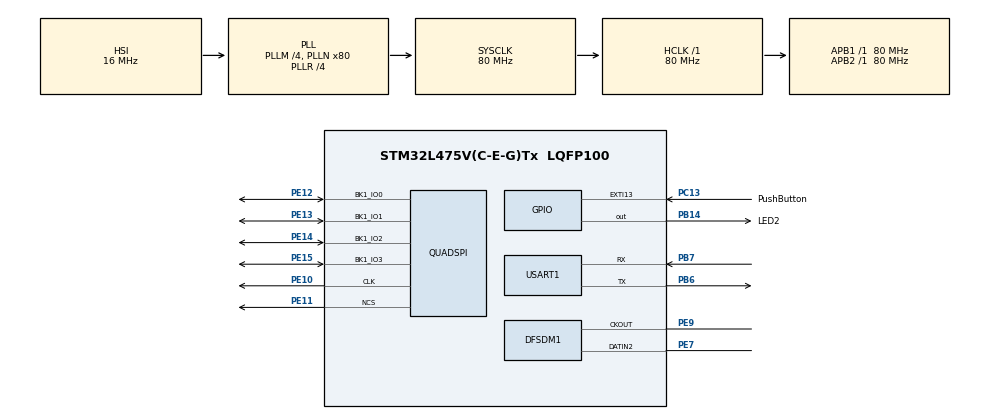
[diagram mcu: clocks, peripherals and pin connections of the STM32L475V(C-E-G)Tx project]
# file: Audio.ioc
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DFSDM1.Divider=19
DFSDM1.DmaMode_reg_FIL0=ENABLE
DFSDM1.DmaMode_reg_FIL1=ENABLE
DFSDM1.FastMode_reg_FIL0=ENABLE
DFSDM1.FastMode_reg_FIL1=ENABLE
DFSDM1.Filter_regChannel_FIL0=DFSDM_CHANNEL_2
DFSDM1.Filter_regChannel_FIL1=DFSDM_CHANNEL_1
DFSDM1.Fosr_FIL0=64
DFSDM1.Fosr_FIL1=64
DFSDM1.RightBitShift_CH1=0x00
DFSDM1.RightBitShift_CH2=0x00
DFSDM1.Selection=DFSDM_CHANNEL_OUTPUT_CLOCK_AUDIO
DFSDM1.SincOrder_FIL0=DFSDM_FILTER_SINC4_ORDER
DFSDM1.SincOrder_FIL1=DFSDM_FILTER_SINC4_ORDER
DFSDM1.Trigger_reg_FIL1=DFSDM_FILTER_SYNC_TRIGGER
DFSDM1.Type_spi_CH1=DFSDM_CHANNEL_SPI_FALLING
Dma.DFSDM1_FLT0.0.Direction=DMA_PERIPH_TO_MEMORY
Dma.DFSDM1_FLT0.0.Instance=DMA1_Channel4
Dma.DFSDM1_FLT0.0.MemDataAlignment=DMA_MDATAALIGN_WORD
Dma.DFSDM1_FLT0.0.MemInc=DMA_MINC_ENABLE
Dma.DFSDM1_FLT0.0.Mode=DMA_CIRCULAR
Dma.DFSDM1_FLT0.0.PeriphDataAlignment=DMA_PDATAALIGN_WORD
Dma.DFSDM1_FLT0.0.PeriphInc=DMA_PINC_DISABLE
Dma.DFSDM1_FLT0.0.Priority=DMA_PRIORITY_MEDIUM
Dma.DFSDM1_FLT1.1.Direction=DMA_PERIPH_TO_MEMORY
Dma.DFSDM1_FLT1.1.Instance=DMA1_Channel5
Dma.DFSDM1_FLT1.1.MemDataAlignment=DMA_MDATAALIGN_WORD
Dma.DFSDM1_FLT1.1.MemInc=DMA_MINC_ENABLE
Dma.DFSDM1_FLT1.1.Mode=DMA_CIRCULAR
Dma.DFSDM1_FLT1.1.PeriphDataAlignment=DMA_PDATAALIGN_WORD
Dma.DFSDM1_FLT1.1.PeriphInc=DMA_PINC_DISABLE
Dma.DFSDM1_FLT1.1.Priority=DMA_PRIORITY_MEDIUM
Dma.MEMTOMEM.2.Direction=DMA_MEMORY_TO_MEMORY
Dma.MEMTOMEM.2.Instance=DMA2_Channel1
Dma.MEMTOMEM.2.MemDataAlignment=DMA_MDATAALIGN_HALFWORD
Dma.MEMTOMEM.2.MemInc=DMA_MINC_ENABLE
Dma.MEMTOMEM.2.Mode=DMA_NORMAL
Dma.MEMTOMEM.2.PeriphDataAlignment=DMA_PDATAALIGN_WORD
Dma.MEMTOMEM.2.PeriphInc=DMA_PINC_ENABLE
Dma.MEMTOMEM.2.Priority=DMA_PRIORITY_LOW
Dma.Request0=DFSDM1_FLT0
Dma.Request1=DFSDM1_FLT1
Dma.Request2=MEMTOMEM
Mcu.Family=STM32L4
Mcu.Name=STM32L475V(C-E-G)Tx
Mcu.Package=LQFP100
NVIC.DFSDM1_FLT0_IRQn=true\:0\:0\:false\:false\:true\:true\:true
NVIC.DFSDM1_FLT1_IRQn=true\:0\:0\:false\:false\:true\:true\:true
NVIC.DMA1_Channel4_IRQn=true\:0\:0\:false\:false\:true\:false\:true
NVIC.DMA1_Channel5_IRQn=true\:0\:0\:false\:false\:true\:false\:true
NVIC.EXTI15_10_IRQn=true\:0\:0\:false\:false\:true\:true\:true
NVIC.PriorityGroup=NVIC_PRIORITYGROUP_4
NVIC.QUADSPI_IRQn=true\:0\:0\:false\:false\:true\:true\:true
PA13\ (JTMS-SWDIO).Mode=Trace_Asynchronous_SW
PA13\ (JTMS-SWDIO).Signal=SYS_JTMS-SWDIO
PA14\ (JTCK-SWCLK).Mode=Trace_Asynchronous_SW
PA14\ (JTCK-SWCLK).Signal=SYS_JTCK-SWCLK
PB14.GPIO_Label=LED2
PB14.Signal=GPIO_Output
PB3\ (JTDO-TRACESWO).Mode=Trace_Asynchronous_SW
PB3\ (JTDO-TRACESWO).Signal=SYS_JTDO-SWO
PB6.Mode=Asynchronous
PB6.Signal=USART1_TX
PB7.Mode=Asynchronous
PB7.Signal=USART1_RX
PC13.GPIO_Label=PushButton
PC13.Signal=GPXTI13
PE10.Mode=Single Bank
PE10.Signal=QUADSPI_CLK
PE11.Mode=Single Bank
PE11.Signal=QUADSPI_NCS
PE12.Mode=Single Bank
PE12.Signal=QUADSPI_BK1_IO0
PE13.Mode=Single Bank
PE13.Signal=QUADSPI_BK1_IO1
PE14.Mode=Single Bank
PE14.Signal=QUADSPI_BK1_IO2
PE15.Mode=Single Bank
PE15.Signal=QUADSPI_BK1_IO3
PE7.Signal=S_DATAIN2DFSDM1
PE9.Signal=S_CKOUTDFSDM1
ProjectManager.HeapSize=0x2000
ProjectManager.StackSize=0x4000
ProjectManager.TargetToolchain=MDK-ARM V5
QUADSPI.ClockPrescaler-Single\ Bank=0
QUADSPI.FifoThreshold-Single\ Bank=1
QUADSPI.FlashSize-Single\ Bank=22
RCC.ADCFreq_Value=98000000
RCC.AHBFreq_Value=80000000
RCC.APB1Freq_Value=80000000
RCC.APB1TimFreq_Value=80000000
RCC.APB2Freq_Value=80000000
RCC.APB2TimFreq_Value=80000000
RCC.CortexFreq_Value=80000000
RCC.HCLKFreq_Value=80000000
RCC.HSE_VALUE=8000000
RCC.HSI_VALUE=16000000
RCC.LSE_VALUE=32768
RCC.MSI_VALUE=4000000
RCC.PLLM=4
RCC.PLLN=80
RCC.PLLR=RCC_PLLR_DIV4
RCC.PLLSAI1N=49
RCC.PLLSAI2N=49
RCC.PLLSourceVirtual=RCC_PLLSOURCE_HSI
RCC.SYSCLKFreq_VALUE=80000000
RCC.SYSCLKSource=RCC_SYSCLKSOURCE_PLLCLK
RCC.USBFreq_Value=98000000
RCC.VCOOutputFreq_Value=320000000
SH.S_CKOUTDFSDM1.0=DFSDM1_CKOUT,PDM_SPI_input_from_ch2_and_internal_clock
SH.S_CKOUTDFSDM1.1=DFSDM1_CKOUT,PDM_SPI_Input_from_ch12_and_Internal_Clock
SH.S_DATAIN2DFSDM1.0=DFSDM1_DATIN2,PDM_SPI_input_from_ch2_and_internal_clock
SH.S_DATAIN2DFSDM1.1=DFSDM1_DATIN2,PDM_SPI_Input_from_ch12_and_Internal_Clock
TIM1.AutoReloadPreload=TIM_AUTORELOAD_PRELOAD_ENABLE
TIM1.Prescaler=79
USART1.VirtualMode-Asynchronous=VM_ASYNC
VP_TIM1_VS_ClockSourceINT.Mode=Internal
board=B-L475E-IOT01A

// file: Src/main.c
/* USER CODE BEGIN Header */
/**
  ******************************************************************************
  * @file           : main.c
  * @brief          : Main program body
  ******************************************************************************
  * @attention
  *
  * <h2><center>&copy; Copyright (c) 2020 STMicroelectronics.
  * All rights reserved.</center></h2>
  *
  * This software component is licensed by ST under BSD 3-Clause license,
  * the "License"; You may not use this file except in compliance with the
  * License. You may obtain a copy of the License at:
  *                        opensource.org/licenses/BSD-3-Clause
  *
  ******************************************************************************
  */
/* USER CODE END Header */

#include "main.h"

/* USER CODE BEGIN Includes */
#include <stdio.h>
#include <stdlib.h>
#include <stdbool.h>
#include <arm_math.h>

/*
********************      Exact Sample Rates:
														16000   -->> 	15988
														24000   -->>  24038
														32000   -->>  32609
														40000   -->>  40179
														44100		-->>  44118
														48000   -->>  48077
*/
#define SampleRate	16000 //16000/24000/3o2000/40000/48000

#define ShiftRight	16		// Adjust Shift right to your loudness

#define mem0BaseAddr 0x00000000
#define mem1BaseAddr 0x00400000
#define QUEUELENGTH 512
#define QUEUELENGTH_Half 256
#define QueDataHalf_1st	0
#define QueDataHalf_2nd	64
#define QueDataHalf_3rd	128
#define QueDataHalf_4th	192
#define QueDataFull_1st	256
#define QueDataFull_2nd	320
#define QueDataFull_3rd	384
#define QueDataFull_4th	448
#define HAL_QSPI_TIMEOUT	180000U // 180 sec //

/* USER CODE END Includes */

DFSDM_Filter_HandleTypeDef hdfsdm1_filter0;
DFSDM_Filter_HandleTypeDef hdfsdm1_filter1;
DFSDM_Channel_HandleTypeDef hdfsdm1_channel1;
DFSDM_Channel_HandleTypeDef hdfsdm1_channel2;
DMA_HandleTypeDef hdma_dfsdm1_flt0;
DMA_HandleTypeDef hdma_dfsdm1_flt1;

QSPI_HandleTypeDef hqspi;

TIM_HandleTypeDef htim1;

UART_HandleTypeDef huart1;

DMA_HandleTypeDef hdma_memtomem_dma2_channel1;

void SystemClock_Config(void);
static void MX_GPIO_Init(void);
static void MX_DMA_Init(void);
static void MX_DFSDM1_Init(void);
static void MX_USART1_UART_Init(void);
static void MX_QUADSPI_Init(void);
static void MX_TIM1_Init(void);
/* USER CODE BEGIN PFP */

static void QSPI_WriteEnable(QSPI_HandleTypeDef *hqspi);
static void QSPI_AutoPollingMemReady(QSPI_HandleTypeDef *hqspi);
static void QSPI_AutoPollingMemReadyIT(QSPI_HandleTypeDef *hqspi);
static void QSPI_Erase(QSPI_HandleTypeDef *QSPIHandle);
static void QSPI_Initilize(QSPI_HandleTypeDef *hqspi);
static void QSPI_Send(QSPI_HandleTypeDef *hqspi,uint8_t *sendData,uint32_t NbData, uint32_t Addr);
static void QSPI_Receive(QSPI_HandleTypeDef *hqspi,uint8_t *receiveData,uint32_t NbData, uint32_t Addr);

/* USER CODE END PFP */

/* USER CODE BEGIN 0 */
volatile bool bufferFull = false;
volatile bool bufferHalfFull = false;
volatile bool recording = false;
volatile bool qspiSendReady = true;

QSPI_CommandTypeDef QSPI_Cmd;
uint32_t mem0Addr = mem0BaseAddr;
uint32_t mem1Addr = mem1BaseAddr;

uint8_t recMem1[256],recMem0[256];
int16_t sendMem1[128],sendMem0[128];
int32_t recBuff1[QUEUELENGTH],recBuff0[QUEUELENGTH];
int16_t amplitude0,amplitude1;

uint8_t state=0;

uint32_t numFull=0,numDetected=0;

/* Feature Extraction ---------------------------------------------------------*/

// define
#define CEILING(x,y) (((x) + (y) - 1) / (y))
#define RecSeconds 3
#define RecN RecSeconds * SampleRate
#define FftN 128
<<<<<<< HEAD
#define FfthalfN FftN / 2 + 1
=======
#define FfthalfN ((FftN / 2) + 1)
>>>>>>> e6b9632864e9d61031888a2163042ba124cf93f8
#define FftT CEILING(RecN, FftN)
#define FeatureN RecN
#define MicN 2
#define UNUSEDVARIABLE(x) (void)(x)

// declare
q15_t* recBuffer;
q15_t* fftBuffer;
//q15_t*** featureBuffer;
arm_cfft_radix2_instance_q15* fft_struct;
uint16_t Fftt;
uint16_t Fftn;
uint16_t Micn;
q15_t featureBuffer[128][65][MicN];

/* Program ---------------------------------------------------------*/

#ifdef __GNUC__
/* With GCC/RAISONANCE, small msg_info (option LD Linker->Libraries->Small msg_info
   set to 'Yes') calls __io_putchar() */
#define PUTCHAR_PROTOTYPE int __io_putchar(int ch)
#define GETCHAR_PROTOTYPE int __io_getchar(void)
#else
#define PUTCHAR_PROTOTYPE int fputc(int ch, FILE *f)
#define GETCHAR_PROTOTYPE int fgetc(FILE *f)
#endif /* __GNUC__ */

PUTCHAR_PROTOTYPE
{
  /* Place your implementation of fputc here */
  /* e.g. write a character to the serial port and Loop until the end of transmission */
  while (HAL_OK != HAL_UART_Transmit(&huart1, (uint8_t *) &ch, 1, 30000))
  {
    ;
  }
  return ch;
}

/**
  * @brief Retargets the C library scanf function to the USART.
  * @param None
  * @retval None
  */
GETCHAR_PROTOTYPE
{
  /* Place your implementation of fgetc here */
  /* e.g. readwrite a character to the USART2 and Loop until the end of transmission */
  uint8_t ch = 0;
  while (HAL_OK != HAL_UART_Receive(&huart1, (uint8_t *)&ch, 1, 30000))
  {
    ;
  }
  return ch;
}

void HAL_DFSDM_FilterRegConvCpltCallback(DFSDM_Filter_HandleTypeDef *hdfsdm_filter)
{
	if (hdfsdm_filter == &hdfsdm1_filter0){
		numFull++;
		if (!bufferFull){
			numDetected++;
			bufferFull = true;
		}
	}
}
void HAL_DFSDM_FilterRegConvHalfCpltCallback(DFSDM_Filter_HandleTypeDef *hdfsdm_filter)
{
	if (!bufferHalfFull && hdfsdm_filter == &hdfsdm1_filter0)
		bufferHalfFull = true;
}
void HAL_QSPI_StatusMatchCallback(QSPI_HandleTypeDef *hqspi)
{
	qspiSendReady = true;
}
/* USER CODE END 0 */

/**
  * @brief FFT calculation
  * @retval None
  */
void fftMockup(void){
		int vectorSize = 64;

		float* vectorReal = (float*) calloc(vectorSize, sizeof(float));
		float* vectorImag = (float*) calloc(vectorSize, sizeof(float));

		for(int i=0;i<vectorSize;i++){
			vectorReal[i] = 1;
		}

		float* cmsisVectorBuffer = (float*) calloc(2*vectorSize, sizeof(float));

		for(int i=0;i<vectorSize;i++){
			// set
			vectorReal[i] = 1;
			vectorImag[i] = 1;

			// merge
			cmsisVectorBuffer[2*i] = vectorReal[i];
			cmsisVectorBuffer[2*i+1] = vectorImag[i];
		}

		// init fft libarary
		arm_cfft_radix2_instance_f32* fft_struct = (arm_cfft_radix2_instance_f32*) calloc(1, sizeof(arm_cfft_radix2_instance_f32));
		arm_cfft_radix2_init_f32(fft_struct, vectorSize, 0, 0);

		// run fft calculation
		arm_cfft_radix2_f32(fft_struct, cmsisVectorBuffer);

		// free memory
		free(vectorReal);
		free(vectorImag);
}

/**
  * @brief 1D dynamic array declaration
  * @retval None
  */
	q15_t* ar_declare(q15_t N) {
	q15_t *x = (q15_t*)calloc(N, sizeof(q15_t));
	return x;
};

/**
  * @brief 3D dynamic array declaration
  * @retval None
  */
q15_t*** ar_declare3d(int M, int N, int O) {
	q15_t*** x = (q15_t***)malloc(M * sizeof(q15_t**));
	if (x) {
		for (int m = 0; m < M; m++) {
			x[m] = (q15_t**)malloc(N * sizeof(q15_t*));
			if (x[m]) {
				for (int n = 0; n < N; n++) {
					if (x[m][n]){
						x[m][n] = (q15_t*)malloc(O * sizeof(q15_t));
					}
				}
			}
		}
	}
	return x;
};

/**
  * @brief 3D dynamic array destruction
  * @retval None
  */
void ar_free3d(q15_t*** x, q15_t M, q15_t N, q15_t O) {
	UNUSEDVARIABLE(O);
	for (int m = 0; m < M; m++) {
		for (int n = 0; n < N; n++) {
			free(x[m][n]);
		}
	}
	free(x);
};

/**
  * @brief Initialize feature extraction
  * @retval None
  */
void featureInit(void){

		// init fft library
		fft_struct = (arm_cfft_radix2_instance_q15*) calloc(1, sizeof(arm_cfft_radix2_instance_q15));
		arm_cfft_radix2_init_q15(fft_struct, FftN, 0, 0);

		// init buffers
		recBuffer = ar_declare(FftN);
		fftBuffer = ar_declare(FftN * 2);
		//featureBuffer = ar_declare3d(FftT, FfthalfN, MicN);
		Fftt = 0;
		Fftn = 0;
}

/**
  * @brief Clean feature extraction
  * @retval None
  */
void featureClean(void){

		// clean buffers
		Fftt = 0;
		Fftn = 0;
		printf("test");
		if (featureBuffer) {
			for (int m = 0; m < FftT; m++) {
				for (int n = 0; n < FfthalfN; n++) {
					for (int o = 0; o < MicN; o++) {
						if(n > 120){
							printf("problem");
						}
						featureBuffer[m][n][o] = 0;
					}
				}
			}
		}

		if(recBuffer){
			for (int m = 0; m < FftN; m++) {
				recBuffer[m] = 0;
			}
		}

		if(fftBuffer){
			for (int m = 0; m < FftN * 2; m++) {
				fftBuffer[m] = 0;
			}
		}
}

/**
  * @brief Update feature extraction
  * @retval None
  */
void featureUpdate(q15_t* inputBuffer){

		// fill left FFT buffer
		for(int i = 0; i < FftN; i++){
			fftBuffer[2 * i] = inputBuffer[i]; // real
			fftBuffer[2 * i + 1] = 0; // imaginary
		}
		// run fft calculation
		arm_cfft_radix2_q15(fft_struct, fftBuffer);

		// extract magnitude
		q15_t mag_max;
		q15_t real;
		q15_t imag;
		mag_max = 0;
		for(int i = 0; i < FfthalfN; i++){
			printf("%d\n", i);
			real = fftBuffer[2 * i];
			imag = fftBuffer[2 * i + 1];
			arm_sqrt_q15(real * real + imag * imag, &featureBuffer[Fftt][i][Micn]);

			if(featureBuffer[Fftt][i][Micn] > mag_max){
				mag_max = featureBuffer[Fftt][i][Micn];
			}
			printf("%d\n", i);
		}

		// normalize magnitude
		for(int i = 0; i < FfthalfN; i++){
			  featureBuffer[Fftt][i][Micn] = featureBuffer[Fftt][i][Micn] / mag_max;
		}
}

/**
  * @brief Finish feature extraction
  * @retval None
  */
void featureFinish(void){

		// free memory
		free(fft_struct);
		free(fftBuffer);
		//ar_free3d(&featureBuffer[0][0][0], FftT, FfthalfN, MicN);
}

int main(void)
{
  /* USER CODE BEGIN 1 */
	//uint8_t qspiData[10];

  /* USER CODE END 1 */

  /* MCU Configuration--------------------------------------------------------*/

  /* Reset of all peripherals, Initializes the Flash interface and the Systick. */
  HAL_Init();

  /* Configure the system clock */
  SystemClock_Config();

  /* Initialize all configured peripherals */
  MX_GPIO_Init();
  MX_DMA_Init();
  MX_DFSDM1_Init();
  MX_USART1_UART_Init();
  MX_QUADSPI_Init();
  MX_TIM1_Init();
  /* USER CODE BEGIN 2 */
	printf("Hello\n");

	//	Initilize the QSPI
	HAL_NVIC_DisableIRQ (EXTI15_10_IRQn);
	QSPI_Initilize (&hqspi);
	printf("Initilize memory Done\n");
	HAL_NVIC_EnableIRQ (EXTI15_10_IRQn);

	// Init feature calculation
	printf("init feature calculation\n");
	featureInit();

  /* USER CODE END 2 */

  /* Infinite loop */
  /* USER CODE BEGIN WHILE */
  while (1)
  {
		switch (state){
			case 0: //Idle time at the start before recording
				printf("Idle\n");
				numDetected = 0;
				numFull = 0;
				mem0Addr = mem0BaseAddr;
				mem1Addr = mem1BaseAddr;
				recording = false;
				HAL_Delay (1000);
				featureClean();
				break;

			case 1: //Start Recording and send to mem on every half full

				// Start Recording Command for both channels
				if (recording == false){
					recording = true;
					if(HAL_OK != HAL_DFSDM_FilterRegularStart_DMA(&hdfsdm1_filter1, recBuff1, QUEUELENGTH)){
						printf("error in filter1\n");
						Error_Handler();
					}
					if(HAL_OK != HAL_DFSDM_FilterRegularStart_DMA(&hdfsdm1_filter0, recBuff0, QUEUELENGTH)){
						printf("error in filter0\n");
						Error_Handler();
					}
					printf("started\n");
				}

				// Save data to qspi flash mem
				// First, shift data to the right for sufficient amount, according to your speaker's volume
				// Then, send 16bit data to the 16bit registers with DMA
				// Finally, save data through qspi on the flash memory
				if (bufferHalfFull){

					for(int i=QueDataHalf_1st;i<QueDataHalf_3rd;i++){
						recBuff0[i] = recBuff0[i]>>ShiftRight;
					}
					HAL_DMA_Start (&hdma_memtomem_dma2_channel1,(uint32_t)&recBuff0[QueDataHalf_1st],(uint32_t)sendMem0,128);
					HAL_DMA_PollForTransfer (&hdma_memtomem_dma2_channel1,HAL_DMA_FULL_TRANSFER,10);
					QSPI_Send (&hqspi,(uint8_t *)sendMem0,256,mem0Addr);
					mem0Addr +=256;

					for(int i=QueDataHalf_1st;i<QueDataHalf_3rd;i++){
						recBuff1[i] = recBuff1[i]>>ShiftRight;
					}
					HAL_DMA_Start (&hdma_memtomem_dma2_channel1,(uint32_t)&recBuff1[QueDataHalf_1st],(uint32_t)sendMem1,128);
					HAL_DMA_PollForTransfer (&hdma_memtomem_dma2_channel1,HAL_DMA_FULL_TRANSFER,10);
					QSPI_Send (&hqspi,(uint8_t *)sendMem1,256,mem1Addr);
					mem1Addr +=256;

					for(int i=QueDataHalf_3rd;i<QUEUELENGTH_Half;i++){
						recBuff0[i] = recBuff0[i]>>ShiftRight;
					}
					HAL_DMA_Start (&hdma_memtomem_dma2_channel1,(uint32_t)&recBuff0[QueDataHalf_3rd],(uint32_t)sendMem0,128);
					HAL_DMA_PollForTransfer (&hdma_memtomem_dma2_channel1,HAL_DMA_FULL_TRANSFER,10);
					QSPI_Send (&hqspi,(uint8_t *)sendMem0,256,mem0Addr);
					mem0Addr +=256;

					for(int i=QueDataHalf_3rd;i<QUEUELENGTH_Half;i++){
						recBuff1[i] = recBuff1[i]>>ShiftRight;
					}
					HAL_DMA_Start (&hdma_memtomem_dma2_channel1,(uint32_t)&recBuff1[QueDataHalf_3rd],(uint32_t)sendMem1,128);
					HAL_DMA_PollForTransfer (&hdma_memtomem_dma2_channel1,HAL_DMA_FULL_TRANSFER,10);
					QSPI_Send (&hqspi,(uint8_t *)sendMem1,256,mem1Addr);
					mem1Addr +=256;

					bufferHalfFull = false;
				}

				if (bufferFull){

					for(int i=QueDataFull_1st;i<QueDataFull_3rd;i++){
						recBuff0[i] = recBuff0[i]>>ShiftRight;
					}
					HAL_DMA_Start (&hdma_memtomem_dma2_channel1,(uint32_t)&recBuff0[QueDataFull_1st],(uint32_t)sendMem0,128);
					HAL_DMA_PollForTransfer (&hdma_memtomem_dma2_channel1,HAL_DMA_FULL_TRANSFER,10);
					QSPI_Send (&hqspi,(uint8_t *)sendMem0,256,mem0Addr);
					mem0Addr +=256;

					for(int i=QueDataFull_1st;i<QueDataFull_3rd;i++){
						recBuff1[i] = recBuff1[i]>>ShiftRight;
					}
					HAL_DMA_Start (&hdma_memtomem_dma2_channel1,(uint32_t)&recBuff1[QueDataFull_1st],(uint32_t)sendMem1,128);
					HAL_DMA_PollForTransfer (&hdma_memtomem_dma2_channel1,HAL_DMA_FULL_TRANSFER,10);
					QSPI_Send (&hqspi,(uint8_t *)sendMem1,256,mem1Addr);
					mem1Addr +=256;

					for(int i=QueDataFull_3rd;i<QUEUELENGTH;i++){
						recBuff0[i] = recBuff0[i]>>ShiftRight;
					}
					HAL_DMA_Start (&hdma_memtomem_dma2_channel1,(uint32_t)&recBuff0[QueDataFull_3rd],(uint32_t)sendMem0,128);
					HAL_DMA_PollForTransfer (&hdma_memtomem_dma2_channel1,HAL_DMA_FULL_TRANSFER,10);
					QSPI_Send (&hqspi,(uint8_t *)sendMem0,256,mem0Addr);
					mem0Addr +=256;

					for(int i=QueDataFull_3rd;i<QUEUELENGTH;i++){
						recBuff1[i] = recBuff1[i]>>ShiftRight;
					}
					HAL_DMA_Start (&hdma_memtomem_dma2_channel1,(uint32_t)&recBuff1[QueDataFull_3rd],(uint32_t)sendMem1,128);
					HAL_DMA_PollForTransfer (&hdma_memtomem_dma2_channel1,HAL_DMA_FULL_TRANSFER,10);
					QSPI_Send (&hqspi,(uint8_t *)sendMem1,256,mem1Addr);
					mem1Addr +=256;

					bufferFull = false;
				}
				break;
			case 2: // Recording Done, Sending Data over UART to the system
				HAL_DFSDM_FilterRegularStop_DMA (&hdfsdm1_filter1);
				HAL_DFSDM_FilterRegularStop_DMA (&hdfsdm1_filter0);
				recording = false;
				HAL_NVIC_DisableIRQ (EXTI15_10_IRQn);
				printf("Stopped Recording and Send Data Over\n");

				if (bufferHalfFull){

					for(int i=QueDataHalf_1st;i<QueDataHalf_3rd;i++){
						recBuff0[i] = recBuff0[i]>>ShiftRight;
					}
					HAL_DMA_Start (&hdma_memtomem_dma2_channel1,(uint32_t)&recBuff0[QueDataHalf_1st],(uint32_t)sendMem0,128);
					QSPI_Send (&hqspi,(uint8_t *)sendMem0,256,mem0Addr);
					mem0Addr +=256;

					for(int i=QueDataHalf_1st;i<QueDataHalf_3rd;i++){
						recBuff1[i] = recBuff1[i]>>ShiftRight;
					}
					HAL_DMA_Start (&hdma_memtomem_dma2_channel1,(uint32_t)&recBuff1[QueDataHalf_1st],(uint32_t)sendMem1,128);
					QSPI_Send (&hqspi,(uint8_t *)sendMem1,256,mem1Addr);
					mem1Addr +=256;

					for(int i=QueDataHalf_3rd;i<QUEUELENGTH_Half;i++){
						recBuff0[i] = recBuff0[i]>>ShiftRight;
					}
					HAL_DMA_Start (&hdma_memtomem_dma2_channel1,(uint32_t)&recBuff0[QueDataHalf_3rd],(uint32_t)sendMem0,128);
					QSPI_Send (&hqspi,(uint8_t *)sendMem0,256,mem0Addr);
					mem0Addr +=256;

					for(int i=QueDataHalf_3rd;i<QUEUELENGTH_Half;i++){
						recBuff1[i] = recBuff1[i]>>ShiftRight;
					}
					HAL_DMA_Start (&hdma_memtomem_dma2_channel1,(uint32_t)&recBuff1[QueDataHalf_3rd],(uint32_t)sendMem1,128);
					QSPI_Send (&hqspi,(uint8_t *)sendMem1,256,mem1Addr);
					mem1Addr +=256;

					bufferHalfFull = false;
				}

				if (bufferFull){

					for(int i=QueDataFull_1st;i<QueDataFull_3rd;i++){
						recBuff0[i] = recBuff0[i]>>ShiftRight;
					}
					HAL_DMA_Start (&hdma_memtomem_dma2_channel1,(uint32_t)&recBuff0[QueDataFull_1st],(uint32_t)sendMem0,128);
					QSPI_Send (&hqspi,(uint8_t *)sendMem0,256,mem0Addr);
					mem0Addr +=256;

					for(int i=QueDataFull_1st;i<QueDataFull_3rd;i++){
						recBuff1[i] = recBuff1[i]>>ShiftRight;
					}
					HAL_DMA_Start (&hdma_memtomem_dma2_channel1,(uint32_t)&recBuff1[QueDataFull_1st],(uint32_t)sendMem1,128);
					QSPI_Send (&hqspi,(uint8_t *)sendMem1,256,mem1Addr);
					mem1Addr +=256;

					for(int i=QueDataFull_3rd;i<QUEUELENGTH;i++){
						recBuff0[i] = recBuff0[i]>>ShiftRight;
					}
					HAL_DMA_Start (&hdma_memtomem_dma2_channel1,(uint32_t)&recBuff0[QueDataFull_3rd],(uint32_t)sendMem0,128);
					QSPI_Send (&hqspi,(uint8_t *)sendMem0,256,mem0Addr);
					mem0Addr +=256;

					for(int i=QueDataFull_3rd;i<QUEUELENGTH;i++){
						recBuff1[i] = recBuff1[i]>>ShiftRight;
					}
					HAL_DMA_Start (&hdma_memtomem_dma2_channel1,(uint32_t)&recBuff1[QueDataFull_3rd],(uint32_t)sendMem1,128);
					QSPI_Send (&hqspi,(uint8_t *)sendMem1,256,mem1Addr);
					mem1Addr +=256;

					bufferFull = false;
				}

				// Recieve data from QSPI mem and send over UART
				// First part of data is from channel 0
				// Second part of data is from channel 1
				mem0Addr -=256;
				Micn = 0; // microphone number
				Fftn = 0; // fft bin number
				Fftt = 0; // fft window number
				for (uint32_t addr=mem0BaseAddr; addr<=mem0Addr; addr+=256){
					QSPI_Receive (&hqspi,recMem0,256,addr);
					for (int i=0;i<256;i+=2){
						amplitude0 = (int16_t)(((uint16_t) recMem0[i]) + (((uint16_t) recMem0[i+1])<<8));
						printf ("%i\n",amplitude0);
						// Update feature calculation
						if(Fftt < FftT){
							recBuffer[Fftn] = amplitude0;
							if(Fftn == FftN){
								printf("fftloop");
								Fftn = 0;
								featureUpdate(recBuffer);
								printf("fftloopfinish");
								Fftt += 1;
							}else{
								Fftn += 1;
							}
						}
					}
				}
				mem1Addr -=256;
				Micn = 1;
				Fftn = 0;
				Fftt = 0;
				for (uint32_t addr=mem1BaseAddr; addr<=mem1Addr; addr+=256){
					QSPI_Receive (&hqspi,recMem1,256,addr);
					for (int i=0;i<256;i+=2){
						amplitude1 = (int16_t)(((uint16_t) recMem1[i]) + (((uint16_t) recMem1[i+1])<<8));
						printf ("%i\n",amplitude1);

					// Update feature calculation
						if(Fftt < FftT){
							recBuffer[Fftn] = amplitude0;
							if(Fftn == FftN){
								Fftn = 0;
								printf("feature update");
								featureUpdate(recBuffer);
								Fftt += 1;
							}else{
								Fftn += 1;
							}
						}
					}
				}

				printf ("Number of buffer full: %d\n",numFull);
				printf ("Number of detected full: %d\n",numDetected);

				printf ("Finished Sending Data, Erasing memory\n");
				QSPI_Erase (&hqspi);
				printf ("Erasing Done\n");
				HAL_NVIC_EnableIRQ (EXTI15_10_IRQn);
				state = 0;

				// Finish feature calculation
				featureFinish();

				break;

		}
    /* USER CODE END WHILE */

  }
}

void SystemClock_Config(void)
{
  RCC_OscInitTypeDef RCC_OscInitStruct = {0};
  RCC_ClkInitTypeDef RCC_ClkInitStruct = {0};
  RCC_PeriphCLKInitTypeDef PeriphClkInit = {0};

  /** Initializes the CPU, AHB and APB busses clocks
  */
  RCC_OscInitStruct.OscillatorType = RCC_OSCILLATORTYPE_HSI;
  RCC_OscInitStruct.HSIState = RCC_HSI_ON;
  RCC_OscInitStruct.HSICalibrationValue = RCC_HSICALIBRATION_DEFAULT;
  RCC_OscInitStruct.PLL.PLLState = RCC_PLL_ON;
  RCC_OscInitStruct.PLL.PLLSource = RCC_PLLSOURCE_HSI;
  RCC_OscInitStruct.PLL.PLLM = 4;
  RCC_OscInitStruct.PLL.PLLN = 80;
  RCC_OscInitStruct.PLL.PLLP = RCC_PLLP_DIV7;
  RCC_OscInitStruct.PLL.PLLQ = RCC_PLLQ_DIV2;
  RCC_OscInitStruct.PLL.PLLR = RCC_PLLR_DIV4;
  if (HAL_RCC_OscConfig(&RCC_OscInitStruct) != HAL_OK)
  {
    Error_Handler();
  }
  /** Initializes the CPU, AHB and APB busses clocks
  */
  RCC_ClkInitStruct.ClockType = RCC_CLOCKTYPE_HCLK|RCC_CLOCKTYPE_SYSCLK
                              |RCC_CLOCKTYPE_PCLK1|RCC_CLOCKTYPE_PCLK2;
  RCC_ClkInitStruct.SYSCLKSource = RCC_SYSCLKSOURCE_PLLCLK;
  RCC_ClkInitStruct.AHBCLKDivider = RCC_SYSCLK_DIV1;
  RCC_ClkInitStruct.APB1CLKDivider = RCC_HCLK_DIV1;
  RCC_ClkInitStruct.APB2CLKDivider = RCC_HCLK_DIV1;

  if (HAL_RCC_ClockConfig(&RCC_ClkInitStruct, FLASH_LATENCY_4) != HAL_OK)
  {
    Error_Handler();
  }
  PeriphClkInit.PeriphClockSelection = RCC_PERIPHCLK_USART1|RCC_PERIPHCLK_SAI1
                              |RCC_PERIPHCLK_DFSDM1;
  PeriphClkInit.Usart1ClockSelection = RCC_USART1CLKSOURCE_PCLK2;
  PeriphClkInit.Sai1ClockSelection = RCC_SAI1CLKSOURCE_PLLSAI1;
  PeriphClkInit.Dfsdm1ClockSelection = RCC_DFSDM1CLKSOURCE_PCLK;
  PeriphClkInit.PLLSAI1.PLLSAI1Source = RCC_PLLSOURCE_HSI;
  PeriphClkInit.PLLSAI1.PLLSAI1M = 4;
  if (SampleRate == 16000)
		PeriphClkInit.PLLSAI1.PLLSAI1N = 77;
	else if(SampleRate == 24000)
		PeriphClkInit.PLLSAI1.PLLSAI1N = 35;
	else if(SampleRate == 32000)
		PeriphClkInit.PLLSAI1.PLLSAI1N = 84;
	else if(SampleRate == 40000)
		PeriphClkInit.PLLSAI1.PLLSAI1N = 63;
	else if(SampleRate == 44100)
		PeriphClkInit.PLLSAI1.PLLSAI1N = 84;
	else if(SampleRate == 48000)
		PeriphClkInit.PLLSAI1.PLLSAI1N = 70;
  PeriphClkInit.PLLSAI1.PLLSAI1P = RCC_PLLP_DIV7;
  PeriphClkInit.PLLSAI1.PLLSAI1Q = RCC_PLLQ_DIV2;
  PeriphClkInit.PLLSAI1.PLLSAI1R = RCC_PLLR_DIV2;
  PeriphClkInit.PLLSAI1.PLLSAI1ClockOut = RCC_PLLSAI1_SAI1CLK;
  if (HAL_RCCEx_PeriphCLKConfig(&PeriphClkInit) != HAL_OK)
  {
    Error_Handler();
  }
  /** Configure the main internal regulator output voltage
  */
  if (HAL_PWREx_ControlVoltageScaling(PWR_REGULATOR_VOLTAGE_SCALE1) != HAL_OK)
  {
    Error_Handler();
  }
}

static void MX_DFSDM1_Init(void)
{

  /* USER CODE BEGIN DFSDM1_Init 0 */
	/*																					// Add this part to the above function whenever recreating code from cube
	if (SampleRate == 16000)
		PeriphClkInit.PLLSAI1.PLLSAI1N = 77;
	else if(SampleRate == 24000)
		PeriphClkInit.PLLSAI1.PLLSAI1N = 35;
	else if(SampleRate == 32000)
		PeriphClkInit.PLLSAI1.PLLSAI1N = 84;
	else if(SampleRate == 40000)
		PeriphClkInit.PLLSAI1.PLLSAI1N = 63;
	else if(SampleRate == 48000)
		PeriphClkInit.PLLSAI1.PLLSAI1N = 70;
	*/
	int clockdivider;														// Add clockdivider instead of the value whenever recreating code from cube
	if (SampleRate == 16000)
		clockdivider = 43;
	else if (SampleRate == 24000)
		clockdivider = 13;
	else if (SampleRate == 32000)
		clockdivider = 23;
	else if (SampleRate == 40000)
		clockdivider = 14;
	else if (SampleRate == 44100)
		clockdivider = 17;
	else if (SampleRate == 48000)
		clockdivider = 13;

  /* USER CODE END DFSDM1_Init 0 */

  hdfsdm1_filter0.Instance = DFSDM1_Filter0;
  hdfsdm1_filter0.Init.RegularParam.Trigger = DFSDM_FILTER_SW_TRIGGER;
  hdfsdm1_filter0.Init.RegularParam.FastMode = ENABLE;
  hdfsdm1_filter0.Init.RegularParam.DmaMode = ENABLE;
  hdfsdm1_filter0.Init.FilterParam.SincOrder = DFSDM_FILTER_SINC4_ORDER;
  hdfsdm1_filter0.Init.FilterParam.Oversampling = 64;
  hdfsdm1_filter0.Init.FilterParam.IntOversampling = 1;
  if (HAL_DFSDM_FilterInit(&hdfsdm1_filter0) != HAL_OK)
  {
    Error_Handler();
  }
  hdfsdm1_filter1.Instance = DFSDM1_Filter1;
  hdfsdm1_filter1.Init.RegularParam.Trigger = DFSDM_FILTER_SYNC_TRIGGER;
  hdfsdm1_filter1.Init.RegularParam.FastMode = ENABLE;
  hdfsdm1_filter1.Init.RegularParam.DmaMode = ENABLE;
  hdfsdm1_filter1.Init.FilterParam.SincOrder = DFSDM_FILTER_SINC4_ORDER;
  hdfsdm1_filter1.Init.FilterParam.Oversampling = 64;
  hdfsdm1_filter1.Init.FilterParam.IntOversampling = 1;
  if (HAL_DFSDM_FilterInit(&hdfsdm1_filter1) != HAL_OK)
  {
    Error_Handler();
  }
  hdfsdm1_channel1.Instance = DFSDM1_Channel1;
  hdfsdm1_channel1.Init.OutputClock.Activation = ENABLE;
  hdfsdm1_channel1.Init.OutputClock.Selection = DFSDM_CHANNEL_OUTPUT_CLOCK_AUDIO;
  hdfsdm1_channel1.Init.OutputClock.Divider = clockdivider;
  hdfsdm1_channel1.Init.Input.Multiplexer = DFSDM_CHANNEL_EXTERNAL_INPUTS;
  hdfsdm1_channel1.Init.Input.DataPacking = DFSDM_CHANNEL_STANDARD_MODE;
  hdfsdm1_channel1.Init.Input.Pins = DFSDM_CHANNEL_FOLLOWING_CHANNEL_PINS;
  hdfsdm1_channel1.Init.SerialInterface.Type = DFSDM_CHANNEL_SPI_FALLING;
  hdfsdm1_channel1.Init.SerialInterface.SpiClock = DFSDM_CHANNEL_SPI_CLOCK_INTERNAL;
  hdfsdm1_channel1.Init.Awd.FilterOrder = DFSDM_CHANNEL_FASTSINC_ORDER;
  hdfsdm1_channel1.Init.Awd.Oversampling = 1;
  hdfsdm1_channel1.Init.Offset = 0;
  hdfsdm1_channel1.Init.RightBitShift = 0x00;
  if (HAL_DFSDM_ChannelInit(&hdfsdm1_channel1) != HAL_OK)
  {
    Error_Handler();
  }
  hdfsdm1_channel2.Instance = DFSDM1_Channel2;
  hdfsdm1_channel2.Init.OutputClock.Activation = ENABLE;
  hdfsdm1_channel2.Init.OutputClock.Selection = DFSDM_CHANNEL_OUTPUT_CLOCK_AUDIO;
  hdfsdm1_channel2.Init.OutputClock.Divider = clockdivider;
  hdfsdm1_channel2.Init.Input.Multiplexer = DFSDM_CHANNEL_EXTERNAL_INPUTS;
  hdfsdm1_channel2.Init.Input.DataPacking = DFSDM_CHANNEL_STANDARD_MODE;
  hdfsdm1_channel2.Init.Input.Pins = DFSDM_CHANNEL_SAME_CHANNEL_PINS;
  hdfsdm1_channel2.Init.SerialInterface.Type = DFSDM_CHANNEL_SPI_RISING;
  hdfsdm1_channel2.Init.SerialInterface.SpiClock = DFSDM_CHANNEL_SPI_CLOCK_INTERNAL;
  hdfsdm1_channel2.Init.Awd.FilterOrder = DFSDM_CHANNEL_FASTSINC_ORDER;
  hdfsdm1_channel2.Init.Awd.Oversampling = 1;
  hdfsdm1_channel2.Init.Offset = 0;
  hdfsdm1_channel2.Init.RightBitShift = 0x00;
  if (HAL_DFSDM_ChannelInit(&hdfsdm1_channel2) != HAL_OK)
  {
    Error_Handler();
  }
  if (HAL_DFSDM_FilterConfigRegChannel(&hdfsdm1_filter0, DFSDM_CHANNEL_2, DFSDM_CONTINUOUS_CONV_ON) != HAL_OK)
  {
    Error_Handler();
  }
  if (HAL_DFSDM_FilterConfigRegChannel(&hdfsdm1_filter1, DFSDM_CHANNEL_1, DFSDM_CONTINUOUS_CONV_ON) != HAL_OK)
  {
    Error_Handler();
  }

}

static void MX_QUADSPI_Init(void)
{

  /* QUADSPI parameter configuration*/
  hqspi.Instance = QUADSPI;
  hqspi.Init.ClockPrescaler = 0;
  hqspi.Init.FifoThreshold = 1;
  hqspi.Init.SampleShifting = QSPI_SAMPLE_SHIFTING_NONE;
  hqspi.Init.FlashSize = 22;
  hqspi.Init.ChipSelectHighTime = QSPI_CS_HIGH_TIME_1_CYCLE;
  hqspi.Init.ClockMode = QSPI_CLOCK_MODE_0;
  if (HAL_QSPI_Init(&hqspi) != HAL_OK)
  {
    Error_Handler();
  }

}

static void MX_TIM1_Init(void)
{

  TIM_ClockConfigTypeDef sClockSourceConfig = {0};
  TIM_MasterConfigTypeDef sMasterConfig = {0};

  htim1.Instance = TIM1;
  htim1.Init.Prescaler = 79;
  htim1.Init.CounterMode = TIM_COUNTERMODE_UP;
  htim1.Init.Period = 0;
  htim1.Init.ClockDivision = TIM_CLOCKDIVISION_DIV1;
  htim1.Init.RepetitionCounter = 0;
  htim1.Init.AutoReloadPreload = TIM_AUTORELOAD_PRELOAD_ENABLE;
  if (HAL_TIM_Base_Init(&htim1) != HAL_OK)
  {
    Error_Handler();
  }
  sClockSourceConfig.ClockSource = TIM_CLOCKSOURCE_INTERNAL;
  if (HAL_TIM_ConfigClockSource(&htim1, &sClockSourceConfig) != HAL_OK)
  {
    Error_Handler();
  }
  sMasterConfig.MasterOutputTrigger = TIM_TRGO_RESET;
  sMasterConfig.MasterOutputTrigger2 = TIM_TRGO2_RESET;
  sMasterConfig.MasterSlaveMode = TIM_MASTERSLAVEMODE_DISABLE;
  if (HAL_TIMEx_MasterConfigSynchronization(&htim1, &sMasterConfig) != HAL_OK)
  {
    Error_Handler();
  }

}

static void MX_USART1_UART_Init(void)
{

  huart1.Instance = USART1;
  huart1.Init.BaudRate = 115200;
  huart1.Init.WordLength = UART_WORDLENGTH_8B;
  huart1.Init.StopBits = UART_STOPBITS_1;
  huart1.Init.Parity = UART_PARITY_NONE;
  huart1.Init.Mode = UART_MODE_TX_RX;
  huart1.Init.HwFlowCtl = UART_HWCONTROL_NONE;
  huart1.Init.OverSampling = UART_OVERSAMPLING_16;
  huart1.Init.OneBitSampling = UART_ONE_BIT_SAMPLE_DISABLE;
  huart1.AdvancedInit.AdvFeatureInit = UART_ADVFEATURE_NO_INIT;
  if (HAL_UART_Init(&huart1) != HAL_OK)
  {
    Error_Handler();
  }

}

static void MX_DMA_Init(void)
{

  /* DMA controller clock enable */
  __HAL_RCC_DMA1_CLK_ENABLE();
  __HAL_RCC_DMA2_CLK_ENABLE();

  /* Configure DMA request hdma_memtomem_dma2_channel1 on DMA2_Channel1 */
  hdma_memtomem_dma2_channel1.Instance = DMA2_Channel1;
  hdma_memtomem_dma2_channel1.Init.Request = DMA_REQUEST_0;
  hdma_memtomem_dma2_channel1.Init.Direction = DMA_MEMORY_TO_MEMORY;
  hdma_memtomem_dma2_channel1.Init.PeriphInc = DMA_PINC_ENABLE;
  hdma_memtomem_dma2_channel1.Init.MemInc = DMA_MINC_ENABLE;
  hdma_memtomem_dma2_channel1.Init.PeriphDataAlignment = DMA_PDATAALIGN_WORD;
  hdma_memtomem_dma2_channel1.Init.MemDataAlignment = DMA_MDATAALIGN_HALFWORD;
  hdma_memtomem_dma2_channel1.Init.Mode = DMA_NORMAL;
  hdma_memtomem_dma2_channel1.Init.Priority = DMA_PRIORITY_LOW;
  if (HAL_DMA_Init(&hdma_memtomem_dma2_channel1) != HAL_OK)
  {
    Error_Handler( );
  }

  /* DMA interrupt init */
  /* DMA1_Channel4_IRQn interrupt configuration */
  HAL_NVIC_SetPriority(DMA1_Channel4_IRQn, 0, 0);
  HAL_NVIC_EnableIRQ(DMA1_Channel4_IRQn);
  /* DMA1_Channel5_IRQn interrupt configuration */
  HAL_NVIC_SetPriority(DMA1_Channel5_IRQn, 0, 0);
  HAL_NVIC_EnableIRQ(DMA1_Channel5_IRQn);

}

static void MX_GPIO_Init(void)
{
  GPIO_InitTypeDef GPIO_InitStruct = {0};

  /* GPIO Ports Clock Enable */
  __HAL_RCC_GPIOC_CLK_ENABLE();
  __HAL_RCC_GPIOE_CLK_ENABLE();
  __HAL_RCC_GPIOB_CLK_ENABLE();
  __HAL_RCC_GPIOA_CLK_ENABLE();

  /*Configure GPIO pin Output Level */
  HAL_GPIO_WritePin(LED2_GPIO_Port, LED2_Pin, GPIO_PIN_RESET);

  /*Configure GPIO pin : PushButton_Pin */
  GPIO_InitStruct.Pin = PushButton_Pin;
  GPIO_InitStruct.Mode = GPIO_MODE_IT_RISING;
  GPIO_InitStruct.Pull = GPIO_NOPULL;
  HAL_GPIO_Init(PushButton_GPIO_Port, &GPIO_InitStruct);

  /*Configure GPIO pin : LED2_Pin */
  GPIO_InitStruct.Pin = LED2_Pin;
  GPIO_InitStruct.Mode = GPIO_MODE_OUTPUT_PP;
  GPIO_InitStruct.Pull = GPIO_NOPULL;
  GPIO_InitStruct.Speed = GPIO_SPEED_FREQ_LOW;
  HAL_GPIO_Init(LED2_GPIO_Port, &GPIO_InitStruct);

  /* EXTI interrupt init*/
  HAL_NVIC_SetPriority(EXTI15_10_IRQn, 0, 0);
  HAL_NVIC_EnableIRQ(EXTI15_10_IRQn);

}

/* USER CODE BEGIN 4 */
/**
  * @brief  This function send a Write Enable and wait it is effective.
  * @param  hqspi: QSPI handle
  * @retval None
  */
static void QSPI_WriteEnable(QSPI_HandleTypeDef *QSPIHandle)
{
  QSPI_AutoPollingTypeDef sConfig;

  /* Enable write operations ------------------------------------------ */
	QSPI_Cmd.InstructionMode		= QSPI_INSTRUCTION_1_LINE;
	QSPI_Cmd.AddressSize				= QSPI_ADDRESS_24_BITS;
  QSPI_Cmd.AlternateByteMode	= QSPI_ALTERNATE_BYTES_NONE;
	QSPI_Cmd.AlternateBytes			= 0;
	QSPI_Cmd.AlternateBytesSize = 0;
  QSPI_Cmd.DdrMode						= QSPI_DDR_MODE_DISABLE;
	QSPI_Cmd.DdrHoldHalfCycle		= QSPI_DDR_HHC_ANALOG_DELAY;
  QSPI_Cmd.SIOOMode						= QSPI_SIOO_INST_EVERY_CMD;    // No change needed till this point
	QSPI_Cmd.Instruction				= 0x06;
	QSPI_Cmd.Address						= 0;
	QSPI_Cmd.AddressMode				= QSPI_ADDRESS_NONE;
	QSPI_Cmd.DummyCycles				= 0;
	QSPI_Cmd.DataMode						= QSPI_DATA_NONE;
	QSPI_Cmd.NbData							= 0;

  if (HAL_QSPI_Command(QSPIHandle, &QSPI_Cmd, HAL_QSPI_TIMEOUT) != HAL_OK)
  {
    Error_Handler();
  }

  /* Configure automatic polling mode to wait for write enabling ---- */
  sConfig.Match           = 0x02;
  sConfig.Mask            = 0x02;
  sConfig.MatchMode       = QSPI_MATCH_MODE_AND;
  sConfig.StatusBytesSize = 1;
  sConfig.Interval        = 0x10;
  sConfig.AutomaticStop   = QSPI_AUTOMATIC_STOP_ENABLE;

	QSPI_Cmd.Instruction				= 0x05;
	QSPI_Cmd.Address						= 0;
	QSPI_Cmd.AddressMode				= QSPI_ADDRESS_NONE;
	QSPI_Cmd.DummyCycles				= 0;
	QSPI_Cmd.DataMode						= QSPI_DATA_1_LINE;
	QSPI_Cmd.NbData							= 1;

  if (HAL_QSPI_AutoPolling(QSPIHandle, &QSPI_Cmd, &sConfig, HAL_QSPI_TIMEOUT) != HAL_OK)
  {
    Error_Handler();
  }
}

/**
  * @brief  This function read the SR of the memory and wait the EOP. Blocking mode
  * @param  hqspi: QSPI handle
  * @retval None
  */
static void QSPI_AutoPollingMemReady(QSPI_HandleTypeDef *QSPIHandle)
{
  QSPI_AutoPollingTypeDef sConfig;

  /* Configure automatic polling mode to wait for memory ready ------ */

	QSPI_Cmd.Instruction				= 0x05;
	QSPI_Cmd.Address						= 0;
	QSPI_Cmd.AddressMode				= QSPI_ADDRESS_NONE;
	QSPI_Cmd.DummyCycles				= 0;
	QSPI_Cmd.DataMode						= QSPI_DATA_1_LINE;
	QSPI_Cmd.NbData							= 1;

  sConfig.Match           = 0x00;
  sConfig.Mask            = 0x01;
  sConfig.MatchMode       = QSPI_MATCH_MODE_AND;
  sConfig.StatusBytesSize = 1;
  sConfig.Interval        = 0x10;
  sConfig.AutomaticStop   = QSPI_AUTOMATIC_STOP_ENABLE;

  if (HAL_QSPI_AutoPolling(QSPIHandle, &QSPI_Cmd, &sConfig,HAL_QSPI_TIMEOUT) != HAL_OK)
  {
    Error_Handler();
  }
}
/**
  * @brief  This function read the SR of the memory and wait the EOP. Non-Blocking mode
  * @param  hqspi: QSPI handle
  * @retval None
  */
static void QSPI_AutoPollingMemReadyIT(QSPI_HandleTypeDef *QSPIHandle)
{
  QSPI_AutoPollingTypeDef sConfig;

  /* Configure automatic polling mode to wait for memory ready ------ */

	QSPI_Cmd.Instruction				= 0x05;
	QSPI_Cmd.Address						= 0;
	QSPI_Cmd.AddressMode				= QSPI_ADDRESS_NONE;
	QSPI_Cmd.DummyCycles				= 0;
	QSPI_Cmd.DataMode						= QSPI_DATA_1_LINE;
	QSPI_Cmd.NbData							= 1;

  sConfig.Match           = 0x00;
  sConfig.Mask            = 0x01;
  sConfig.MatchMode       = QSPI_MATCH_MODE_AND;
  sConfig.StatusBytesSize = 1;
  sConfig.Interval        = 0x10;
  sConfig.AutomaticStop   = QSPI_AUTOMATIC_STOP_ENABLE;

  if (HAL_QSPI_AutoPolling_IT(QSPIHandle, &QSPI_Cmd, &sConfig) != HAL_OK)
  {
    Error_Handler();
  }
}
static void QSPI_Erase(QSPI_HandleTypeDef *QSPIHandle)
{
	//	Erase whole chip before programming
	QSPI_WriteEnable (QSPIHandle);
	QSPI_Cmd.Instruction			= 0x60;
	QSPI_Cmd.Address					= 0;
	QSPI_Cmd.AddressMode			= QSPI_ADDRESS_NONE;
	QSPI_Cmd.DummyCycles			= 0;
	QSPI_Cmd.DataMode					= QSPI_DATA_NONE;
	QSPI_Cmd.NbData						= 0;
	HAL_QSPI_Command (QSPIHandle,&QSPI_Cmd,HAL_QSPI_TIMEOUT);
	QSPI_AutoPollingMemReady (QSPIHandle);
}

static void QSPI_Initilize(QSPI_HandleTypeDef *QSPIHandle)
{
	uint8_t data[3];
	QSPI_Cmd.InstructionMode		= QSPI_INSTRUCTION_1_LINE;
	QSPI_Cmd.AddressSize				= QSPI_ADDRESS_24_BITS;
  QSPI_Cmd.AlternateByteMode	= QSPI_ALTERNATE_BYTES_NONE;
	QSPI_Cmd.AlternateBytes			= 0;
	QSPI_Cmd.AlternateBytesSize = 0;
  QSPI_Cmd.DdrMode						= QSPI_DDR_MODE_DISABLE;
	QSPI_Cmd.DdrHoldHalfCycle		= QSPI_DDR_HHC_ANALOG_DELAY;
  QSPI_Cmd.SIOOMode						= QSPI_SIOO_INST_EVERY_CMD;    // No change needed till this point
	QSPI_Cmd.Instruction				= 0x05;
	QSPI_Cmd.Address						= 0;
	QSPI_Cmd.AddressMode				= QSPI_ADDRESS_1_LINE;
	QSPI_Cmd.DummyCycles				= 0;
	QSPI_Cmd.DataMode						= QSPI_DATA_1_LINE;
	QSPI_Cmd.NbData							= 1;

	//	Read Status Register at First
	QSPI_Cmd.Instruction			= 0x05;
	QSPI_Cmd.Address					= 0;
	QSPI_Cmd.AddressMode			= QSPI_ADDRESS_NONE;
	QSPI_Cmd.DummyCycles			= 0;
	QSPI_Cmd.DataMode					= QSPI_DATA_1_LINE;
	QSPI_Cmd.NbData						= 1;
	if (HAL_QSPI_Command (QSPIHandle,&QSPI_Cmd,HAL_QSPI_TIMEOUT) != HAL_OK){
		Error_Handler();
	}
	if (HAL_QSPI_Receive (QSPIHandle,&data[0],HAL_QSPI_TIMEOUT) != HAL_OK){
		Error_Handler();
	}
	if ((data[0]&0x40) != 0x40){
		Error_Handler ();
	}
	//printf("Status Reg : %d\n" , data[0]);

	//  Set Status and Configuration Registers
	data[0] = 64;
	data[1] = 0;
	data[2] = 2;
	QSPI_WriteEnable (QSPIHandle);
	QSPI_Cmd.Instruction			= 0x01;
	QSPI_Cmd.Address					= 0;
	QSPI_Cmd.AddressMode			= QSPI_ADDRESS_NONE;
	QSPI_Cmd.DummyCycles			= 0;
	QSPI_Cmd.DataMode					= QSPI_DATA_1_LINE;
	QSPI_Cmd.NbData						= 3;
	HAL_QSPI_Command (QSPIHandle,&QSPI_Cmd,HAL_QSPI_TIMEOUT);
	HAL_QSPI_Transmit (QSPIHandle,data,HAL_QSPI_TIMEOUT);
	QSPI_AutoPollingMemReady (QSPIHandle);

	HAL_Delay (100);

	//	Read Configuration Register
	QSPI_Cmd.Instruction			= 0x15;
	QSPI_Cmd.Address					= 0;
	QSPI_Cmd.AddressMode			= QSPI_ADDRESS_NONE;
	QSPI_Cmd.DummyCycles			= 0;
	QSPI_Cmd.DataMode					= QSPI_DATA_1_LINE;
	QSPI_Cmd.NbData						= 2;
	if (HAL_QSPI_Command (QSPIHandle,&QSPI_Cmd,HAL_QSPI_TIMEOUT) != HAL_OK){
		Error_Handler();
	}
	if (HAL_QSPI_Receive (QSPIHandle,&data[0],HAL_QSPI_TIMEOUT) != HAL_OK){
		Error_Handler();
	}
	//printf("Configuration Reg : %d,%d\n" , data[0], data[1]);

	//	Erase whole chip before programming
	//QSPI_WriteEnable (QSPIHandle);
	//QSPI_Cmd.Instruction			= 0x60;
	//QSPI_Cmd.Address					= 0;
	//QSPI_Cmd.AddressMode			= QSPI_ADDRESS_NONE;
	//QSPI_Cmd.DummyCycles			= 0;
	//QSPI_Cmd.DataMode					= QSPI_DATA_NONE;
	//QSPI_Cmd.NbData						= 0;
	//HAL_QSPI_Command (QSPIHandle,&QSPI_Cmd,HAL_QSPI_TIMEOUT);
	//QSPI_AutoPollingMemReady (QSPIHandle);

}

static void QSPI_Send(QSPI_HandleTypeDef *QSPIHandle, uint8_t *sendData, uint32_t NbData, uint32_t Addr)
{
	if (NbData>256){	// Max send data one page (256 Bytes)
		Error_Handler();
	}
	while (!qspiSendReady);
	QSPI_WriteEnable (QSPIHandle);
	QSPI_Cmd.Instruction			= 0x38;
	QSPI_Cmd.Address					= Addr;
	QSPI_Cmd.AddressMode			= QSPI_ADDRESS_4_LINES;
	QSPI_Cmd.DummyCycles			= 0;
	QSPI_Cmd.DataMode					= QSPI_DATA_4_LINES;
	QSPI_Cmd.NbData						= NbData;
	HAL_QSPI_Command (QSPIHandle,&QSPI_Cmd,1);
	HAL_QSPI_Transmit (QSPIHandle,sendData,1);
	QSPI_AutoPollingMemReadyIT (QSPIHandle);
	qspiSendReady = false;

}

static void QSPI_Receive(QSPI_HandleTypeDef *QSPIHandle, uint8_t *receiveData, uint32_t NbData, uint32_t Addr)
{
	if (NbData>256){	// Max send data one page (256 Bytes)
		Error_Handler();
	}
	QSPI_Cmd.Instruction			= 0x6B;
	QSPI_Cmd.Address					= Addr;
	QSPI_Cmd.AddressMode			= QSPI_ADDRESS_1_LINE;
	QSPI_Cmd.DummyCycles			= 8;
	QSPI_Cmd.DataMode					= QSPI_DATA_4_LINES;
	QSPI_Cmd.NbData						= NbData;
	HAL_QSPI_Command (QSPIHandle,&QSPI_Cmd,HAL_QSPI_TIMEOUT);
	HAL_QSPI_Receive (QSPIHandle,receiveData,HAL_QSPI_TIMEOUT);
	QSPI_AutoPollingMemReady (QSPIHandle);

}

void HAL_GPIO_EXTI_Callback(uint16_t GPIO_Pin)
{
  if (GPIO_Pin == PushButton_Pin){
		switch (state){
			case 0:
				HAL_GPIO_WritePin (LED2_GPIO_Port,LED2_Pin,GPIO_PIN_SET);
				state = 1;
			break;
			case 1:
				HAL_GPIO_WritePin (LED2_GPIO_Port,LED2_Pin,GPIO_PIN_RESET);
				state = 2;
			break;
			case 2:
				HAL_GPIO_WritePin (LED2_GPIO_Port,LED2_Pin,GPIO_PIN_RESET);
				state = 0;
			break;
		}
	}
}
/* USER CODE END 4 */

void Error_Handler(void)
{
  /* USER CODE BEGIN Error_Handler_Debug */
  /* User can add his own implementation to report the HAL error return state */
	printf("We have error\n");
  /* USER CODE END Error_Handler_Debug */
}

/************************ (C) COPYRIGHT STMicroelectronics *****END OF FILE****/
